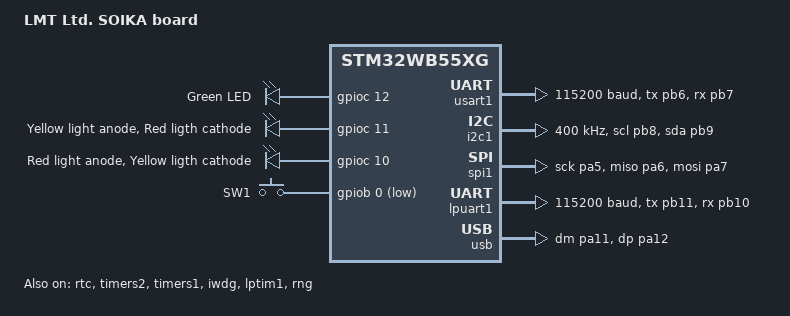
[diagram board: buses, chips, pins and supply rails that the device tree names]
/dts-v1/;
#include <st/wb/stm32wb55Xg.dtsi>
#include <st/wb/stm32wb55rgvx-pinctrl.dtsi>
#include "bb-header.dtsi"
/ {
	model = "LMT Ltd. SOIKA board";
	compatible = "LMT,soika-bird";

	chosen {
		zephyr,console = &lpuart1;
		zephyr,shell-uart = &lpuart1;
		zephyr,bt-mon-uart = &lpuart1;
		zephyr,sram = &sram0;
		zephyr,flash = &flash0;
		zephyr,code-partition = &slot0_partition;

	};
	leds {
		compatible = "gpio-leds";
		GLC: led_0 {
			gpios = <&gpioc 12 GPIO_ACTIVE_HIGH>;
			label = "Green LED";
		};
		YARC: led_1 {
			gpios = <&gpioc 11 GPIO_ACTIVE_HIGH>;
			label = "Yellow light anode, Red ligth cathode";
		};
		YCRA: led_2 {
			gpios = <&gpioc 10 GPIO_ACTIVE_HIGH>;
			label = "Red light anode, Yellow ligth cathode";
		};
	};
	power-states {
		stop0: state0 {
			compatible = "zephyr,power-state";
			power-state-name = "suspend-to-idle";
			substate-id = <1>;
			min-residency-us = <100>;
		};
		stop1: state1 {
			compatible = "zephyr,power-state";
			power-state-name = "suspend-to-idle";
			substate-id = <2>;
			min-residency-us = <500>;
		};
		stop2: state2 {
			compatible = "zephyr,power-state";
			power-state-name = "suspend-to-idle";
			substate-id = <3>;
			min-residency-us = <900>;
		};
	};
	gpio_keys {
		compatible = "gpio-keys";
		user_button_1: button_0 {
			label = "SW1";
			gpios = <&gpiob 0 (GPIO_ACTIVE_LOW | GPIO_PULL_UP)>;
		};
	};

	aliases {

		led0 = &GLC;
		led1 = &YARC;
		led2 = &YCRA;
		sw0 = &user_button_1;
	};
};

&clk_hse {
	status = "okay";
};

&clk_lse {
	status = "okay";
};

&pll {
	status = "okay";
	clocks = <&clk_hse>;
	div-m = <2>;
	mul-n = <8>;
	div-r = <2>;
};

&rcc {
	clocks = <&pll>;
	clock-frequency = <DT_FREQ_M(64)>;
	cpu1-prescaler = <1>;
	cpu2-prescaler = <2>;
	ahb4-prescaler = <1>;
	apb1-prescaler = <1>;
	apb2-prescaler = <1>;
};

&cpu0 {
	cpu-power-states = <&stop0 &stop1 &stop2>;
};

&usart1 {
	pinctrl-0 = <&usart1_tx_pb6 &usart1_rx_pb7>;
	pinctrl-names = "default";
	current-speed = <115200>;
	status = "okay";
};

&i2c1 {
	pinctrl-0 = <&i2c1_scl_pb8 &i2c1_sda_pb9>;
	pinctrl-names = "default";
	status = "okay";
	clock-frequency = <I2C_BITRATE_FAST>;
};

&rtc {
	status = "okay";
};
&dma1 {
	status = "okay";
};
&dmamux1 {
	status = "okay";
};

&spi1 {
	pinctrl-0 = </* &spi1_nss_pa4 */ &spi1_sck_pa5
	&spi1_miso_pa6 &spi1_mosi_pa7>;
	pinctrl-names = "default";
	status = "okay";
};
&timers2 {
	status = "okay";
	/* st,prescaler = <>; */
	// pwm2: pwm {
		//     status = "disabled";
		//     pinctrl-0 = <&tim2_ch1_pa15>;
		//     pinctrl-names = "default";
	// };
};



&timers1 {
	st,prescaler = <10000>;
	status = "okay";

	/*     radio_io: radio_io{
		compatible = "st,radio-io";
		label = "radio_io";
		pinctrl-0 = <&tim1_ch1_pa8>;
		pinctrl-names = "default";
		#pwm-cells = <3>;
	}; */
	/*     pwm1: pwm {
		status = "disabled";
		pinctrl-0 = <&tim1_ch1_pa8>;
		pinctrl-names = "default";
	}; */
};


&lpuart1 {
	pinctrl-0 = <&lpuart1_tx_pb11 &lpuart1_rx_pb10>;
	pinctrl-names = "default";
	current-speed = <115200>;
	status = "okay";
};

&iwdg {
	status = "okay";
};

&lptim1 {
	status = "okay";
};

zephyr_udc0: &usb {
	status = "okay";
	pinctrl-0 = <&usb_dm_pa11 &usb_dp_pa12>;
	pinctrl-names = "default";
};

&rng {
	status = "okay";
};

&flash0 {
	partitions {
		compatible = "fixed-partitions";
		#address-cells = <1>;
		#size-cells = <1>;
		boot_partition: partition@0 {
			label = "mcuboot";
			reg = <0x00000000 0xc000>;
		};
		slot0_partition: partition@c000 {
			label = "image-0";
			reg = <0x0000C000 0x2c000>;
		};
		slot1_partition: partition@68000 {
			label = "image-1";
			reg = <0x00038000 0x2c000>;
		};
		scratch_partition: partition@c4000 {
			label = "image-scratch";
			reg = <0x00064000 0x4000>;
		};
		storage_partition: partition@c8000 {
			label = "storage";
			reg = <0x00068000 0x2000>;
		};

	};
};
